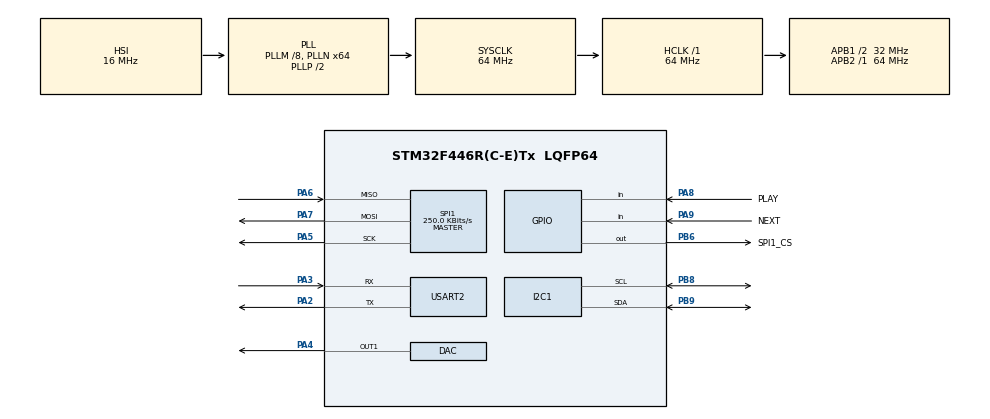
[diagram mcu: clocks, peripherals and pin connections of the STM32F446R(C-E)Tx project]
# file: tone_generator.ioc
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DAC.DAC_Trigger=DAC_TRIGGER_T6_TRGO
Mcu.Family=STM32F4
Mcu.Name=STM32F446R(C-E)Tx
Mcu.Package=LQFP64
NVIC.PriorityGroup=NVIC_PRIORITYGROUP_4
NVIC.TIM6_DAC_IRQn=true\:0\:0\:false\:false\:true\:true\:true\:true
PA13.Mode=Serial_Wire
PA13.Signal=SYS_JTMS-SWDIO
PA14.Mode=Serial_Wire
PA14.Signal=SYS_JTCK-SWCLK
PA2.Mode=Asynchronous
PA2.Signal=USART2_TX
PA3.Mode=Asynchronous
PA3.Signal=USART2_RX
PA4.Signal=COMP_DAC1_group
PA5.GPIO_PuPd=GPIO_PULLUP
PA5.GPIO_Speed=GPIO_SPEED_FREQ_LOW
PA5.Mode=Full_Duplex_Master
PA5.Signal=SPI1_SCK
PA6.GPIO_PuPd=GPIO_PULLUP
PA6.GPIO_Speed=GPIO_SPEED_FREQ_LOW
PA6.Mode=Full_Duplex_Master
PA6.Signal=SPI1_MISO
PA7.GPIO_PuPd=GPIO_PULLUP
PA7.GPIO_Speed=GPIO_SPEED_FREQ_LOW
PA7.Mode=Full_Duplex_Master
PA7.Signal=SPI1_MOSI
PA8.GPIO_Label=PLAY
PA8.GPIO_PuPd=GPIO_PULLUP
PA8.Signal=GPIO_Input
PA9.GPIO_Label=NEXT
PA9.GPIO_PuPd=GPIO_PULLUP
PA9.Signal=GPIO_Input
PB6.GPIO_Label=SPI1_CS
PB6.GPIO_PuPd=GPIO_PULLUP
PB6.PinState=GPIO_PIN_SET
PB6.Signal=GPIO_Output
PB8.Mode=I2C
PB8.Signal=I2C1_SCL
PB9.Mode=I2C
PB9.Signal=I2C1_SDA
PH0-OSC_IN.Mode=HSE-External-Oscillator
PH0-OSC_IN.Signal=RCC_OSC_IN
PH1-OSC_OUT.Mode=HSE-External-Oscillator
PH1-OSC_OUT.Signal=RCC_OSC_OUT
ProjectManager.HeapSize=0x200
ProjectManager.StackSize=0x400
ProjectManager.TargetToolchain=STM32CubeIDE
RCC.AHBFreq_Value=64000000
RCC.APB1CLKDivider=RCC_HCLK_DIV2
RCC.APB1Freq_Value=32000000
RCC.APB1TimFreq_Value=64000000
RCC.APB2Freq_Value=64000000
RCC.APB2TimFreq_Value=64000000
RCC.CortexFreq_Value=64000000
RCC.HCLKFreq_Value=64000000
RCC.PLLM=8
RCC.PLLN=64
RCC.SYSCLKFreq_VALUE=64000000
RCC.SYSCLKSource=RCC_SYSCLKSOURCE_PLLCLK
RCC.USBFreq_Value=64000000
RCC.VCOOutputFreq_Value=128000000
SH.COMP_DAC1_group.0=DAC_OUT1,DAC_OUT1
SPI1.BaudRatePrescaler=SPI_BAUDRATEPRESCALER_256
SPI1.CalculateBaudRate=250.0 KBits/s
SPI1.Direction=SPI_DIRECTION_2LINES
SPI1.Mode=SPI_MODE_MASTER
SPI1.VirtualType=VM_MASTER
TIM6.Period=22
TIM6.Prescaler=63
TIM6.TIM_MasterOutputTrigger=TIM_TRGO_UPDATE
USART2.VirtualMode=VM_ASYNC
VP_FATFS_VS_Generic.Mode=User_defined
VP_TIM6_VS_ClockSourceINT.Mode=Enable_Timer
board=custom

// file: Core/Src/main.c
/* USER CODE BEGIN Header */
/**
  ******************************************************************************
  * @file           : main.c
  * @brief          : Main program body
  ******************************************************************************
  * @attention
  *
  * Copyright (c) 2025 STMicroelectronics.
  * All rights reserved.
  *
  * This software is licensed under terms that can be found in the LICENSE file
  * in the root directory of this software component.
  * If no LICENSE file comes with this software, it is provided AS-IS.
  *
  ******************************************************************************
  */
/* USER CODE END Header */
#include "main.h"
#include "fatfs.h"

/* USER CODE BEGIN Includes */
#include <stdio.h>
#include <string.h>
#include <stdarg.h>
#include <stdbool.h>
#include "i2c-lcd.h"
#include <stdlib.h>
#include <ctype.h>
/* USER CODE END Includes */

DAC_HandleTypeDef hdac;

I2C_HandleTypeDef hi2c1;

SPI_HandleTypeDef hspi1;

TIM_HandleTypeDef htim6;

UART_HandleTypeDef huart2;

/* USER CODE BEGIN PV */
void myprintf(const char *fmt, ...);
/* USER CODE END PV */

void SystemClock_Config(void);
static void MX_GPIO_Init(void);
static void MX_SPI1_Init(void);
static void MX_USART2_UART_Init(void);
static void MX_I2C1_Init(void);
static void MX_DAC_Init(void);
static void MX_TIM6_Init(void);

/* USER CODE BEGIN 0 */

// Printf over UART
void myprintf(const char *fmt, ...) {
  static char buffer[256];
  va_list args;
  va_start(args, fmt);
  vsnprintf(buffer, sizeof(buffer), fmt, args);
  va_end(args);

  int len = strlen(buffer);
  HAL_UART_Transmit(&huart2, (uint8_t*)buffer, len, -1);

}

#ifdef __GNUC__
int __io_putchar(int ch)
#else
int fputc(int ch, FILE *f)
#endif
{
    HAL_UART_Transmit(&huart2, (uint8_t *)&ch, 1, HAL_MAX_DELAY);
    return ch;
}

#include <math.h>

FATFS FatFs;
#define NEXT_BUTTON_GPIO_PORT GPIOA
#define NEXT_BUTTON_PIN GPIO_PIN_9
#define PLAY_BUTTON_GPIO_PORT GPIOA
#define PLAY_BUTTON_PIN GPIO_PIN_8

#define SAMPLE_RATE 22050.0f
#define MAX_FILES 10
char Files[MAX_FILES][64];

static FIL audioFile;
static volatile uint32_t fileIndex = 0;
uint8_t Count = 0;

volatile float phase = 0.0f;
volatile float phaseStep = 0.0f;
volatile float volume = 0.2f;

static volatile bool isPlaying = false;

typedef enum {
	STATE_SELECT,
	STATE_PLAYING
} AppState;

typedef enum {
    WAVE_SINE = 0,
    WAVE_TRIANGLE,
    WAVE_SAW,
    WAVE_SQUARE
} WaveType;

typedef struct {
    WaveType wave;
    float frequency;
    float amplitude;
    uint32_t duration_ms;
} Preset;

Preset currentPreset;

extern DAC_HandleTypeDef hdac;
extern TIM_HandleTypeDef htim6;
/* USER CODE END 0 */

void HAL_TIM_PeriodElapsedCallback(TIM_HandleTypeDef *htim)
	// Timer interrupt callback that runs every time TIM6 generates a period-interrupt
{
    if (htim->Instance == TIM6 && isPlaying) {

        float sample = 0.0f;

        switch (currentPreset.wave) {

            case WAVE_SINE:
                sample = sinf(phase);
                break;

            case WAVE_SQUARE:
                sample = (sinf(phase) >= 0) ? 1.0f : -1.0f;
                break;

            case WAVE_TRIANGLE:
                sample = (2.0f / 3.14159265f) * asinf(sinf(phase));
                break;

            case WAVE_SAW:
                sample = (2.0f / 3.14159265f) * (phase - 3.14159265f);
                break;
        }

        // Scales with amplitude (0–1)
        sample *= currentPreset.amplitude * volume;

        // Converts from (-1)-(1) to 0-4095 (12-bit DAC)
        uint16_t dacValue = (uint16_t)((sample + 1.0f) * 2047.5f);

        HAL_DAC_SetValue(&hdac, DAC_CHANNEL_1, DAC_ALIGN_12B_R, dacValue);

        // Updates phase
        phase += phaseStep;
        if (phase >= 2.0f * 3.14159265f)
            phase -= 2.0f * 3.14159265f;
    }
}

bool next_button_pressed(void) {
  return HAL_GPIO_ReadPin(NEXT_BUTTON_GPIO_PORT, NEXT_BUTTON_PIN) == GPIO_PIN_RESET;
}

bool play_button_pressed(void) {
return HAL_GPIO_ReadPin(PLAY_BUTTON_GPIO_PORT, PLAY_BUTTON_PIN) == GPIO_PIN_RESET;
}

void show_current_file(void) {
  // Shows current preset selected
  lcd_clear();
  lcd_put_cur(0, 0);
  lcd_send_string("Tone:");

  // Copies and fixes filename
  char name[64];
  strncpy(name, Files[fileIndex], sizeof(name) - 1);
  name[sizeof(name) - 1] = '\0';

  // Removes ".txt"
  char *dot = strrchr(name, '.');
  if (dot) {
	  *dot = '\0';
  }

  int len = strlen(name);

  if (len <= 16) {
	  // Fits on a single line
	  lcd_put_cur(1, 0);
	  lcd_send_string(name);
  } else {
	  // Scrolls text over the line
	  char scrollBuffer[17]; // 16 signs + null-termination
	  for (int i = 0; i <= len - 16; i++) {
		  strncpy(scrollBuffer, name + i, 16);
		  scrollBuffer[16] = '\0'; // null-terminates

		  lcd_put_cur(1, 0);
		  lcd_send_string("                "); // Clears line
		  lcd_put_cur(1, 0);
		  lcd_send_string(scrollBuffer);

		  HAL_Delay(100);
	  }

	  // Shows last square a little bit longer
	  HAL_Delay(300);
  }
}

void show_current_file_playing(void) {
  // Shows current preset playing
  lcd_clear();
  lcd_put_cur(0, 0);
  lcd_send_string("Now playing:");

  // Copies and fixes filename
  char name[64];
  strncpy(name, Files[fileIndex], sizeof(name) - 1);
  name[sizeof(name) - 1] = '\0';

  // Removes ".txt"
  char *dot = strrchr(name, '.');
  if (dot) {
	  *dot = '\0';
  }

  int len = strlen(name);

  if (len <= 16) {
	  // Fits one line
	  lcd_put_cur(1, 0);
	  lcd_send_string(name);
  } else {
	  // Scrolls text
	  char scrollBuffer[17]; // 16 signs + null-termination
	  for (int i = 0; i <= len - 16; i++) {
		  strncpy(scrollBuffer, name + i, 16);
		  scrollBuffer[16] = '\0'; // null-terminates

		  lcd_put_cur(1, 0);
		  lcd_send_string("                "); // Clears line
		  lcd_put_cur(1, 0);
		  lcd_send_string(scrollBuffer);

		  HAL_Delay(100);
	  }

	  // Shows last square a little bit longer
	  HAL_Delay(300);
  }
}

void read_files(void) {
	// Reads preset filenames stored on SD card
    DIR dir;
    FRESULT res;
    FILINFO fno;

    res = f_opendir(&dir, "/");  // root folder
    if (res != FR_OK) {
        lcd_send_string("Open fail");
        return;
    }

    while ((f_readdir(&dir, &fno) == FR_OK) && fno.fname[0] && Count < MAX_FILES) {
        // Reads filenames only, not folders
        if (!(fno.fattrib & AM_DIR)) {
            // Check if filename end with ".txt" (not case sensitive)
            char *ext = strrchr((char*)fno.fname, '.');
            // Stores filename to list
            if (ext && (strcasecmp(ext, ".txt") == 0)) {
                strncpy(Files[Count], (char*)fno.fname, 63);
                Files[Count][63] = '\0';
                Count++;
            }
        }
    }

    f_closedir(&dir);
}

bool parse_preset_file(const char *filename, Preset *preset) {
	// Parses info from preset files and stores to preset-structure
    FIL file;
    char line[64];

    if (f_open(&file, filename, FA_READ) != FR_OK) {
        lcd_send_string("File open fail");
        return false;
    }

    // Sets default values
    preset->wave = WAVE_SINE;
    preset->frequency = 440.0f;
    preset->amplitude = 0.8f;
    preset->duration_ms = 0;

    while (f_gets(line, sizeof(line), &file)) {
        // Removes newline
        line[strcspn(line, "\r\n")] = 0;

        // Waveform
        if (strncasecmp(line, "WAVE=", 5) == 0) {
            char *val = &line[5];
            if (strcasecmp(val, "SINE") == 0) preset->wave = WAVE_SINE;
            else if (strcasecmp(val, "TRIANGLE") == 0) preset->wave = WAVE_TRIANGLE;
            else if (strcasecmp(val, "SAW") == 0) preset->wave = WAVE_SAW;
            else if (strcasecmp(val, "SQUARE") == 0) preset->wave = WAVE_SQUARE;
        }

        // Frequency
        else if (strncasecmp(line, "FREQ=", 5) == 0) {
            preset->frequency = atof(&line[5]);
        }

        // Amplitude
        else if (strncasecmp(line, "AMP=", 4) == 0) {
            preset->amplitude = atof(&line[4]);
        }

        // Duration
        else if (strncasecmp(line, "DUR=", 4) == 0) {
            preset->duration_ms = (uint32_t)atoi(&line[4]);
        }
    }

    f_close(&file);
    return true;
}

void print_preset(Preset *preset) {
	// Prints preset info to console
    char *waveName;

    switch (preset->wave) {
        case WAVE_SINE:     waveName = "SINE"; break;
        case WAVE_TRIANGLE: waveName = "TRIANGLE"; break;
        case WAVE_SAW:      waveName = "SAW"; break;
        case WAVE_SQUARE:   waveName = "SQUARE"; break;
        default:            waveName = "UNKNOWN"; break;
    }

    printf("Preset info:\r\n");
    printf("Wave: %s\r\n", waveName);
    printf("Freq: %.2f Hz\r\n", preset->frequency);
    printf("Amp: %.2f\r\n", preset->amplitude);
    printf("Duration: %lu ms\r\n", preset->duration_ms);
}

int main(void)
{

  /* MCU Configuration--------------------------------------------------------*/

  /* Reset of all peripherals, Initializes the Flash interface and the Systick. */
  HAL_Init();

  /* Configure the system clock */
  SystemClock_Config();

  /* Initialize all configured peripherals */
  MX_GPIO_Init();
  MX_SPI1_Init();
  MX_USART2_UART_Init();
  MX_FATFS_Init();
  MX_I2C1_Init();
  MX_DAC_Init();
  MX_TIM6_Init();
  /* USER CODE BEGIN 2 */

  	// Variables for button logic (buttons previously pressed)
	bool nextPressedPrev;
	bool playPressedPrev;

	// Initializes LCD screen
	lcd_init();
	HAL_Delay(500);
	lcd_clear();

	// Mounts SD card
	f_mount(&FatFs, "", 1);
	if (f_mount(&FatFs, "", 1) != FR_OK) {
	    lcd_send_string("Mount failed");
	    while (1);
	}
	// Reads filenames on SD card
	read_files();

	playPressedPrev = play_button_pressed();
	nextPressedPrev = next_button_pressed();
	AppState state = STATE_SELECT;
	if (Count > 0) {
	show_current_file();
	} else {
	lcd_send_string("No .txt found");
	}

  /* USER CODE END 2 */

  /* Infinite loop */
  /* USER CODE BEGIN WHILE */
	while (1) {
	  bool nextNow = next_button_pressed();
	  bool playNow = play_button_pressed();

	  switch (state) {
	    case STATE_SELECT:
	      // Prints next preset filename to LCD when select button is pressed
	      if (nextNow && !nextPressedPrev) {
	        fileIndex = (fileIndex + 1) % Count;
	        show_current_file();
	      }

          if (playNow && !playPressedPrev) {
        	  // Plays selected tone when play button is pressed

              // Parses chosen preset
              if (parse_preset_file(Files[fileIndex], &currentPreset)) {
                  // Prints preset info to console
                  print_preset(&currentPreset);

                  // Initializes tone parameters before playing starts
                  phase = 0;
                  phaseStep = (2.0f * 3.14159265f * currentPreset.frequency) / SAMPLE_RATE;
                  // Timer and DAC starts
                  HAL_TIM_Base_Start_IT(&htim6);
                  HAL_DAC_Start(&hdac, DAC_CHANNEL_1);
                  isPlaying = true;
                  show_current_file_playing();
                  state = STATE_PLAYING;
              } else {
                  lcd_send_string("Preset fail");
              }
          }
          break;

	    case STATE_PLAYING:
	      // Stops playing tone if play button is pressed again
	      if (playNow && !playPressedPrev) {
	    	HAL_TIM_Base_Stop_IT(&htim6);
	    	HAL_DAC_Stop(&hdac, DAC_CHANNEL_1);
	        isPlaying = false;
	        f_close(&audioFile);
	        show_current_file();
	        state = STATE_SELECT;
	      }
	      break;
	  }
	  // Updates button variables
	  nextPressedPrev = nextNow;
	  playPressedPrev = playNow;

	  HAL_Delay(20);         // debounce
	}

    /* USER CODE END WHILE */

}

void SystemClock_Config(void)
{
  RCC_OscInitTypeDef RCC_OscInitStruct = {0};
  RCC_ClkInitTypeDef RCC_ClkInitStruct = {0};

  /** Configure the main internal regulator output voltage
  */
  __HAL_RCC_PWR_CLK_ENABLE();
  __HAL_PWR_VOLTAGESCALING_CONFIG(PWR_REGULATOR_VOLTAGE_SCALE3);

  /** Initializes the RCC Oscillators according to the specified parameters
  * in the RCC_OscInitTypeDef structure.
  */
  RCC_OscInitStruct.OscillatorType = RCC_OSCILLATORTYPE_HSI;
  RCC_OscInitStruct.HSIState = RCC_HSI_ON;
  RCC_OscInitStruct.HSICalibrationValue = RCC_HSICALIBRATION_DEFAULT;
  RCC_OscInitStruct.PLL.PLLState = RCC_PLL_ON;
  RCC_OscInitStruct.PLL.PLLSource = RCC_PLLSOURCE_HSI;
  RCC_OscInitStruct.PLL.PLLM = 8;
  RCC_OscInitStruct.PLL.PLLN = 64;
  RCC_OscInitStruct.PLL.PLLP = RCC_PLLP_DIV2;
  RCC_OscInitStruct.PLL.PLLQ = 2;
  RCC_OscInitStruct.PLL.PLLR = 2;
  if (HAL_RCC_OscConfig(&RCC_OscInitStruct) != HAL_OK)
  {
    Error_Handler();
  }

  /** Initializes the CPU, AHB and APB buses clocks
  */
  RCC_ClkInitStruct.ClockType = RCC_CLOCKTYPE_HCLK|RCC_CLOCKTYPE_SYSCLK
                              |RCC_CLOCKTYPE_PCLK1|RCC_CLOCKTYPE_PCLK2;
  RCC_ClkInitStruct.SYSCLKSource = RCC_SYSCLKSOURCE_PLLCLK;
  RCC_ClkInitStruct.AHBCLKDivider = RCC_SYSCLK_DIV1;
  RCC_ClkInitStruct.APB1CLKDivider = RCC_HCLK_DIV2;
  RCC_ClkInitStruct.APB2CLKDivider = RCC_HCLK_DIV1;

  if (HAL_RCC_ClockConfig(&RCC_ClkInitStruct, FLASH_LATENCY_2) != HAL_OK)
  {
    Error_Handler();
  }
}

static void MX_DAC_Init(void)
{

  DAC_ChannelConfTypeDef sConfig = {0};

  /** DAC Initialization
  */
  hdac.Instance = DAC;
  if (HAL_DAC_Init(&hdac) != HAL_OK)
  {
    Error_Handler();
  }

  /** DAC channel OUT1 config
  */
  sConfig.DAC_Trigger = DAC_TRIGGER_T6_TRGO;
  sConfig.DAC_OutputBuffer = DAC_OUTPUTBUFFER_ENABLE;
  if (HAL_DAC_ConfigChannel(&hdac, &sConfig, DAC_CHANNEL_1) != HAL_OK)
  {
    Error_Handler();
  }

}

static void MX_I2C1_Init(void)
{

  hi2c1.Instance = I2C1;
  hi2c1.Init.ClockSpeed = 100000;
  hi2c1.Init.DutyCycle = I2C_DUTYCYCLE_2;
  hi2c1.Init.OwnAddress1 = 0;
  hi2c1.Init.AddressingMode = I2C_ADDRESSINGMODE_7BIT;
  hi2c1.Init.DualAddressMode = I2C_DUALADDRESS_DISABLE;
  hi2c1.Init.OwnAddress2 = 0;
  hi2c1.Init.GeneralCallMode = I2C_GENERALCALL_DISABLE;
  hi2c1.Init.NoStretchMode = I2C_NOSTRETCH_DISABLE;
  if (HAL_I2C_Init(&hi2c1) != HAL_OK)
  {
    Error_Handler();
  }

}

static void MX_SPI1_Init(void)
{

  /* SPI1 parameter configuration*/
  hspi1.Instance = SPI1;
  hspi1.Init.Mode = SPI_MODE_MASTER;
  hspi1.Init.Direction = SPI_DIRECTION_2LINES;
  hspi1.Init.DataSize = SPI_DATASIZE_8BIT;
  hspi1.Init.CLKPolarity = SPI_POLARITY_LOW;
  hspi1.Init.CLKPhase = SPI_PHASE_1EDGE;
  hspi1.Init.NSS = SPI_NSS_SOFT;
  hspi1.Init.BaudRatePrescaler = SPI_BAUDRATEPRESCALER_256;
  hspi1.Init.FirstBit = SPI_FIRSTBIT_MSB;
  hspi1.Init.TIMode = SPI_TIMODE_DISABLE;
  hspi1.Init.CRCCalculation = SPI_CRCCALCULATION_DISABLE;
  hspi1.Init.CRCPolynomial = 10;
  if (HAL_SPI_Init(&hspi1) != HAL_OK)
  {
    Error_Handler();
  }

}

static void MX_TIM6_Init(void)
{
  TIM_MasterConfigTypeDef sMasterConfig = {0};

  htim6.Instance = TIM6;
  htim6.Init.Prescaler = 0;  // Juster etter klokkehastighet
  htim6.Init.CounterMode = TIM_COUNTERMODE_UP;
  htim6.Init.Period = 1452;     // Juster for ønsket samplefrekvens
  htim6.Init.AutoReloadPreload = TIM_AUTORELOAD_PRELOAD_DISABLE;

  if (HAL_TIM_Base_Init(&htim6) != HAL_OK)
  {
    Error_Handler();
  }

  sMasterConfig.MasterOutputTrigger = TIM_TRGO_UPDATE;
  sMasterConfig.MasterSlaveMode = TIM_MASTERSLAVEMODE_DISABLE;
  if (HAL_TIMEx_MasterConfigSynchronization(&htim6, &sMasterConfig) != HAL_OK)
  {
    Error_Handler();
  }

  // ** Viktig: Aktiver interrupt i NVIC for TIM6_DAC_IRQn **
  HAL_NVIC_SetPriority(TIM6_DAC_IRQn, 0, 0);
  HAL_NVIC_EnableIRQ(TIM6_DAC_IRQn);
}

static void MX_USART2_UART_Init(void)
{

  huart2.Instance = USART2;
  huart2.Init.BaudRate = 115200;
  huart2.Init.WordLength = UART_WORDLENGTH_8B;
  huart2.Init.StopBits = UART_STOPBITS_1;
  huart2.Init.Parity = UART_PARITY_NONE;
  huart2.Init.Mode = UART_MODE_TX_RX;
  huart2.Init.HwFlowCtl = UART_HWCONTROL_NONE;
  huart2.Init.OverSampling = UART_OVERSAMPLING_16;
  if (HAL_UART_Init(&huart2) != HAL_OK)
  {
    Error_Handler();
  }

}

static void MX_GPIO_Init(void)
{
  GPIO_InitTypeDef GPIO_InitStruct = {0};

  /* GPIO Ports Clock Enable */
  __HAL_RCC_GPIOH_CLK_ENABLE();
  __HAL_RCC_GPIOA_CLK_ENABLE();
  __HAL_RCC_GPIOB_CLK_ENABLE();

  /*Configure GPIO pin Output Level */
  HAL_GPIO_WritePin(SPI1_CS_GPIO_Port, SPI1_CS_Pin, GPIO_PIN_SET);

  /*Configure GPIO pins : PLAY_Pin NEXT_Pin */
  GPIO_InitStruct.Pin = PLAY_Pin|NEXT_Pin;
  GPIO_InitStruct.Mode = GPIO_MODE_INPUT;
  GPIO_InitStruct.Pull = GPIO_PULLUP;
  HAL_GPIO_Init(GPIOA, &GPIO_InitStruct);

  /*Configure GPIO pin : SPI1_CS_Pin */
  GPIO_InitStruct.Pin = SPI1_CS_Pin;
  GPIO_InitStruct.Mode = GPIO_MODE_OUTPUT_PP;
  GPIO_InitStruct.Pull = GPIO_PULLUP;
  GPIO_InitStruct.Speed = GPIO_SPEED_FREQ_LOW;
  HAL_GPIO_Init(SPI1_CS_GPIO_Port, &GPIO_InitStruct);

}

void Error_Handler(void)
{
  __disable_irq();
  while (1)
  {
  }
}
